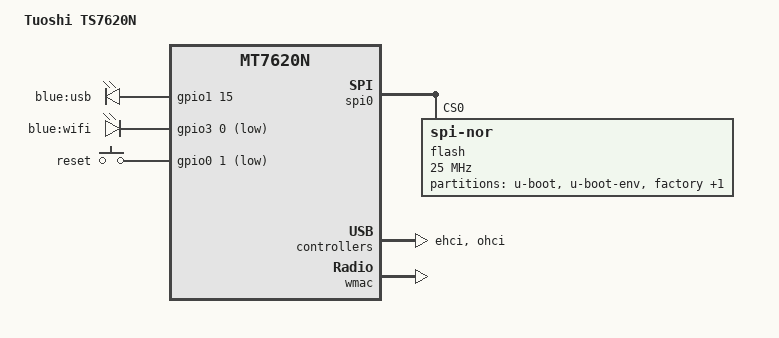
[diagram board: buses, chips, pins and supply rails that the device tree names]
#include "mt7620n.dtsi"

#include <dt-bindings/gpio/gpio.h>
#include <dt-bindings/input/input.h>

/ {
	compatible = "tuoshi,ts7620n", "ralink,mt7620n-soc";
	model = "Tuoshi TS7620N";

	leds {
		compatible = "gpio-leds";

		usb {
			label = "blue:usb";
			gpios = <&gpio1 15 GPIO_ACTIVE_HIGH>;
			trigger-sources = <&ohci_port1>, <&ehci_port1>;
			linux,default-trigger = "usbport";
		};

		wifi {
			label = "blue:wifi";
			gpios = <&gpio3 0 GPIO_ACTIVE_LOW>;
			linux,default-trigger = "phy0tpt";
		};
	};

	keys {
		compatible = "gpio-keys";

		reset {
			label = "reset";
			gpios = <&gpio0 1 GPIO_ACTIVE_LOW>;
			linux,code = <KEY_RESTART>;
		};
	};
};

&gpio1 {
	status = "okay";
};

&gpio3 {
	status = "okay";
};

&spi0 {
	status = "okay";

	flash@0 {
		compatible = "jedec,spi-nor";
		reg = <0>;
		spi-max-frequency = <25000000>;

		partitions {
			compatible = "fixed-partitions";
			#address-cells = <1>;
			#size-cells = <1>;

			partition@0 {
				label = "u-boot";
				reg = <0x0 0x30000>;
				read-only;
			};

			partition@30000 {
				label = "u-boot-env";
				reg = <0x30000 0x10000>;
				read-only;
			};

			factory: partition@40000 {
				label = "factory";
				reg = <0x40000 0x10000>;
				read-only;
			};

			partition@50000 {
				compatible = "denx,uimage";
				label = "firmware";
				reg = <0x50000 0x7b0000>;
			};
		};
	};
};

&ehci {
	status = "okay";
};

&ohci {
	status = "okay";
};

&wmac {
	ralink,mtd-eeprom = <&factory 0>;
};

&ethernet {
	pinctrl-names = "default";
	pinctrl-0 = <&ephy_pins>;
	nvmem-cells = <&macaddr_factory_4>;
	nvmem-cell-names = "mac-address";

	mediatek,portmap = "llllw";
};

&state_default {
	gpio {
		groups = "i2c", "spi refclk", "wled";
		function = "gpio";
	};
};

&factory {
	compatible = "nvmem-cells";
	#address-cells = <1>;
	#size-cells = <1>;

	macaddr_factory_4: macaddr@4 {
		reg = <0x4 0x6>;
	};
};
